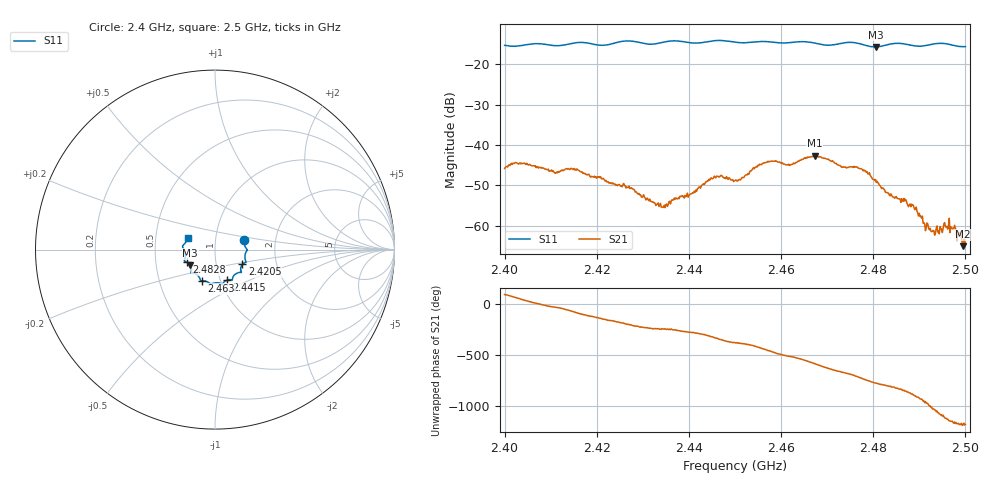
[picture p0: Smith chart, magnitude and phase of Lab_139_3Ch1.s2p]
# Hz S RI R 50
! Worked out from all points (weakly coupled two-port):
!   601 points, 2.4 GHz to 2.5 GHz, reference 50 ohm
!   highest |S21| = -42.68 dB at 2.4673 GHz (marker M1); lowest = -65.1 dB at 2.4995 GHz (marker M2)
!   lowest |S11| = -15.7 dB at 2.4805 GHz (marker M3), VSWR 1.39, Z = 37.3 - j6.68 ohm
!   |S11| at or under -10 dB: start of sweep to end of sweep
!   S12 and S22 are empty: the file has one direction only
!   S11 on the Smith chart (normalised r, x): 2.4 GHz: 1.38, +0.15; 2.4205 GHz: 1.34, -0.22; 2.4415 GHz: 1.07, -0.38; 2.463 GHz: 0.82, -0.29; 2.4828 GHz: 0.72, -0.10; 2.5 GHz: 0.73, +0.10
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2.4e9  0.1639 0.0517  -0.000163 0.00511  0 0  0 0
2.403833e9  0.1707 0.0113  0.00438 0.0039  0 0  0 0
2.411167e9  0.1676 -0.0276  0.00376 -0.0025  0 0  0 0
2.416667e9  0.173 -0.07  -0.00093 -0.00453  0 0  0 0
2.4205e9  0.1521 -0.0816  -0.00308 -0.00263  0 0  0 0
2.433333e9  0.1004 -0.1515  -0.000875 0.0017  0 0  0 0
2.4415e9  0.0656 -0.1707  0.000737 0.00266  0 0  0 0
2.445833e9  0.0415 -0.1923  0.00354 0.00166  0 0  0 0
2.45e9  0.0243 -0.1862  0.00339 -0.00132  0 0  0 0
2.456667e9  -0.0246 -0.1898  6.61e-05 -0.00605  0 0  0 0
2.463e9  -0.0721 -0.1739  -0.00569 -0.00144  0 0  0 0
2.466667e9  -0.0821 -0.167  -0.0057 0.00432  0 0  0 0
2.467333e9  -0.0837 -0.1627  -0.0048 0.00556  0 0  0 0
2.477e9  -0.1321 -0.1227  0.00508 -0.000364  0 0  0 0
2.4805e9  -0.139 -0.0872  0.00193 -0.00318  0 0  0 0
2.482833e9  -0.1586 -0.07  0.000289 -0.00255  0 0  0 0
2.483333e9  -0.1626 -0.0679  1.11e-05 -0.00253  0 0  0 0
2.488833e9  -0.1656 -0.0374  -0.00168 -9.27e-05  0 0  0 0
2.493e9  -0.1779 0.00965  0.00056 0.00067  0 0  0 0
2.496e9  -0.177 0.0238  0.000607 -0.000774  0 0  0 0
2.4995e9  -0.1548 0.0575  -0.000184 -0.000525  0 0  0 0
2.5e9  -0.1528 0.0647  -0.000155 -0.000563  0 0  0 0
